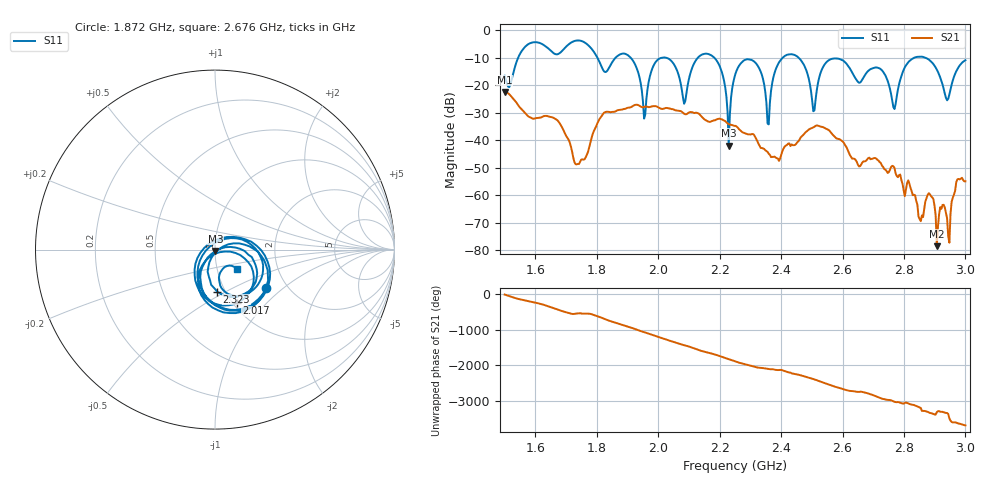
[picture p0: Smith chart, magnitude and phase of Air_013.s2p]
# HZ S RI R 50
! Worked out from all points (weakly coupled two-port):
!   404 points, 1.5 GHz to 3 GHz, reference 50 ohm
!   highest |S21| = -22.41 dB at 1.5 GHz (marker M1); lowest = -78.6 dB at 2.907 GHz (marker M2)
!   lowest |S11| = -41.9 dB at 2.23 GHz (marker M3), VSWR 1.02, Z = 50.2 - j0.774 ohm
!   |S11| at or under -10 dB: 2.183 GHz to 2.405 GHz (221.4 MHz wide, 9.65 % of centre); 2.458 GHz to 2.832 GHz (374.6 MHz wide, 14.2 % of centre); 2.871 GHz to end of sweep (the widest 3 of 7)
!   S12 and S22 are empty: the file has one direction only
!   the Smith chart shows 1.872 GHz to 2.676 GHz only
!   S11 on the Smith chart (normalised r, x): 1.872 GHz: 1.57, -0.77; 2.017 GHz: 1.04, -0.69; 2.323 GHz: 0.92, -0.45; 2.676 GHz: 1.24, -0.28
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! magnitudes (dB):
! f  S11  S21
! 1.5 GHz  -16.5  -22.4
! 1.582 GHz  -4.7  -31.6
! 1.753 GHz  -4.0  -47.0
! 1.872 GHz  -9.0  -29.0
! 1.924 GHz  -12.3  -27.1
! 1.954 GHz  -32.1  -27.9
! 2.002 GHz  -10.3  -28.2
! 2.017 GHz  -9.9  -28.5
! 2.084 GHz  -26.7  -30.3
! 2.177 GHz  -9.4  -32.9
! 2.23 GHz  -41.9  -34.1
! 2.252 GHz  -15.6  -34.8
! 2.323 GHz  -12.6  -40.3
! 2.356 GHz  -33.9  -44.3
! 2.423 GHz  -8.8  -41.2
! 2.501 GHz  -25.6  -35.5
! 2.561 GHz  -10.5  -37.0
! 2.676 GHz  -15.7  -47.5
! 2.751 GHz  -19.7  -51.6
! 2.907 GHz  -14.2  -78.6
! 2.94 GHz  -25.4  -68.5
! 3 GHz  -10.8  -54.9
